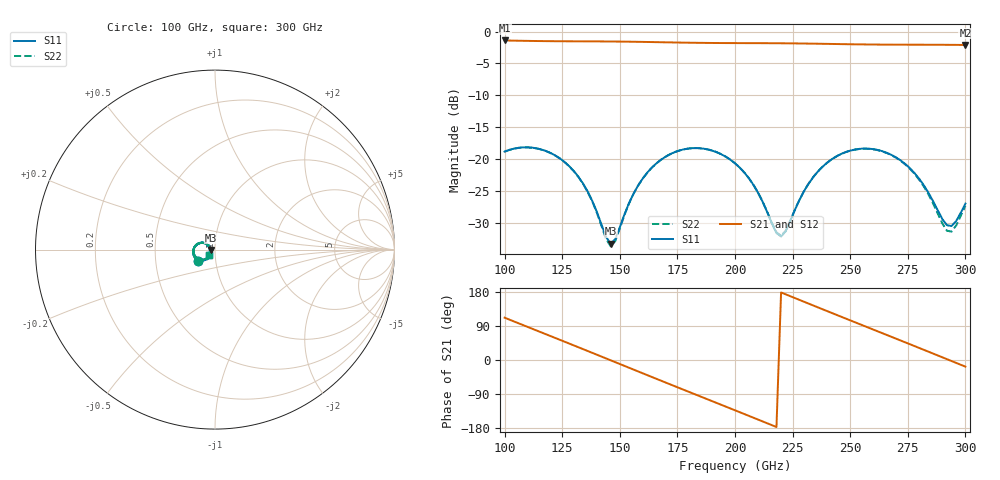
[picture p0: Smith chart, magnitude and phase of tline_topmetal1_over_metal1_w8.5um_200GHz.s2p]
#  GHZ S DB R 50
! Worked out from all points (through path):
!   101 points, 100 GHz to 300 GHz, reference 50 ohm
!   highest |S21| = -1.39 dB at 100 GHz (marker M1); lowest = -2.1 dB at 300 GHz (marker M2)
!   group delay of S21, straight-line fit = 6.79 ps
!   lowest |S11| = -33.3 dB at 146 GHz (marker M3), VSWR 1.04, Z = 47.9 - j0.24 ohm
!   |S11| at or under -10 dB: start of sweep to end of sweep
!   |S22| runs from -33.7 to -18.2 dB; largest |S21 - S12| = 9.6e-14
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100  -18.85 -147.2  -1.39 111.7  -1.39 111.7  -18.86 -147.5
108  -18.19 -164.5  -1.45 92.2  -1.45 92.2  -18.20 -164.8
116  -18.52 178.6  -1.49 72.7  -1.49 72.7  -18.53 178.2
126  -20.47 158.8  -1.52 48.4  -1.52 48.4  -20.49 158.3
134  -23.84 147.1  -1.53 28.8  -1.53 28.8  -23.88 146.3
146  -33.30 -173.4  -1.56 -0.7  -1.56 -0.7  -33.70 -173.3
158  -24.13 -127.9  -1.61 -30.3  -1.61 -30.3  -24.15 -127.1
168  -20.09 -142.6  -1.67 -54.8  -1.67 -54.8  -20.10 -142.1
176  -18.66 -157.9  -1.72 -74.4  -1.72 -74.4  -18.66 -157.6
184  -18.31 -173.9  -1.77 -93.8  -1.77 -93.8  -18.30 -173.6
200  -20.69 156.1  -1.81 -132.7  -1.81 -132.7  -20.68 156.3
210  -25.31 145.6  -1.82 -157.2  -1.82 -157.2  -25.28 145.8
220  -32.18 -171.1  -1.84 178.2  -1.84 178.2  -32.07 -171.3
234  -22.83 -134.5  -1.90 143.8  -1.90 143.8  -22.83 -135.0
244  -19.60 -149.6  -1.95 119.3  -1.95 119.3  -19.61 -150.2
252  -18.52 -164.5  -2.00 99.8  -2.00 99.8  -18.54 -165.1
260  -18.46 -179.7  -2.03 80.4  -2.03 80.4  -18.49 179.5
268  -19.38 165.8  -2.05 60.9  -2.05 60.9  -19.43 164.6
280  -23.14 149.5  -2.06 31.6  -2.06 31.6  -23.29 147.5
292  -30.41 176.2  -2.08 2.2  -2.08 2.2  -31.28 175.3
296  -29.75 -155.3  -2.09 -7.7  -2.09 -7.7  -30.45 -152.6
300  -27.01 -140.4  -2.10 -17.5  -2.10 -17.5  -27.34 -137.4
